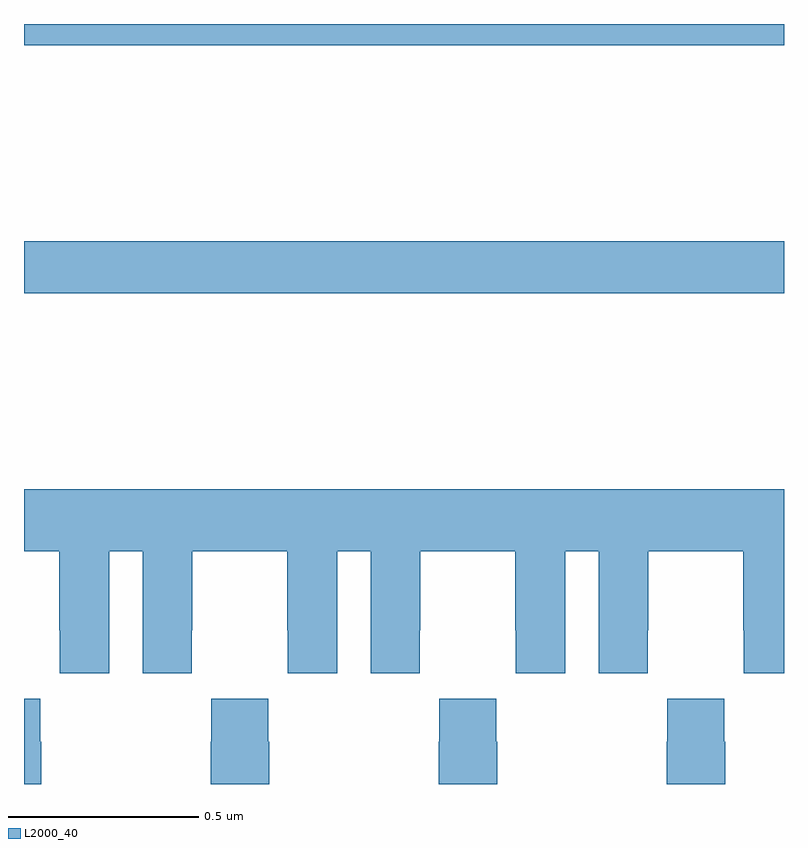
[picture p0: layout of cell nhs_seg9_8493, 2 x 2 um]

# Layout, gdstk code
import gdstk
lib = gdstk.Library(unit=1e-6, precision=1e-09)
def R(c, l, rs):  # rectangles x0, y0, x1, y1
    for r in rs: c.add(gdstk.rectangle(r[:2], r[2:], *l))
def P(c, l, *ps):  # polygons
    for p in ps: c.add(gdstk.Polygon(p, *l))
L2000_40 = (2000, 40)

nhs_seg9_8493 = lib.new_cell('nhs_seg9_8493')
R(nhs_seg9_8493, L2000_40, [(218,1171.792,220,1171.928), (218,1172.444,220,1172.5)])
P(nhs_seg9_8493, L2000_40, [(218.224,1171.112),(218.312,1171.112),(218.312,1170.792),(218.442,1170.792),(218.442,1170.904),(218.443,1170.904),(218.443,1171.112),(218.693,1171.112),(218.693,1170.904),(218.694,1170.904),(218.694,1170.792),(218.824,1170.792),(218.824,1171.112),(218.912,1171.112),(218.912,1170.792),(219.042,1170.792),(219.042,1170.904),(219.043,1170.904),(219.043,1171.112),(219.293,1171.112),(219.293,1170.904),(219.294,1170.904),(219.294,1170.792),(219.424,1170.792),(219.424,1171.112),(219.512,1171.112),(219.512,1170.792),(219.642,1170.792),(219.642,1170.904),(219.643,1170.904),(219.643,1171.112),(219.893,1171.112),(219.893,1170.904),(219.894,1170.904),(219.894,1170.792),(220,1170.792),(220,1171.276),(218,1171.276),(218,1171.112),(218.093,1171.112),(218.093,1170.904),(218.094,1170.904),(218.094,1170.792),(218.224,1170.792)],
  [(219.846,1170.611),(219.843,1170.611),(219.843,1170.724),(219.693,1170.724),(219.693,1170.611),(219.691,1170.611),(219.691,1170.5),(219.846,1170.5)],
  [(218.646,1170.611),(218.643,1170.611),(218.643,1170.724),(218.493,1170.724),(218.493,1170.611),(218.491,1170.611),(218.491,1170.5),(218.646,1170.5)],
  [(219.246,1170.611),(219.243,1170.611),(219.243,1170.724),(219.093,1170.724),(219.093,1170.611),(219.091,1170.611),(219.091,1170.5),(219.246,1170.5)],
  [(218.046,1170.611),(218.043,1170.611),(218.043,1170.724),(218,1170.724),(218,1170.5),(218.046,1170.5)])

lib.write_gds('nhs_seg9_8493.gds')
